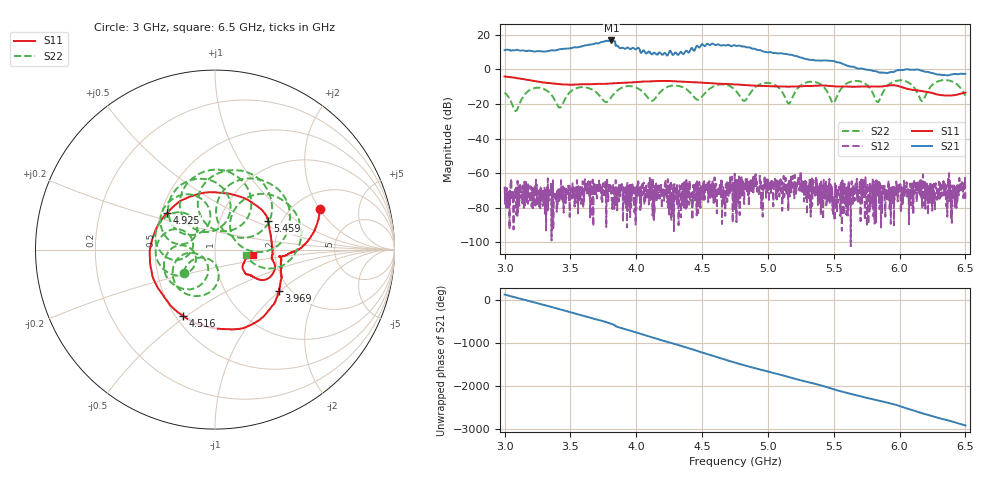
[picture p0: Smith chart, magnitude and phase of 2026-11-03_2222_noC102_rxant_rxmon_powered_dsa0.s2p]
! HEWLETT PACKARD,8720ES,MY41003347,7.72, via bringup/vna_tests.py
! noC102_rxant_rxmon_powered_dsa0
! measured 2026-11-03 22:23:18, 1601 points, 3000000000-6500000000 Hz, IF bandwidth 1000 Hz, source -40.00 dBm, kit CALK35MD
! board A, DSA 0.00 dB (set before each sweep)
! board A, CTRL bits {'tx_dis': 1} set before each sweep
# HZ S RI R 50
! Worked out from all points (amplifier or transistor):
!   1601 points, 3 GHz to 6.5 GHz, reference 50 ohm
!   highest |S21| = 16.8 dB at 3.812 GHz (marker M1)
!   |S21| within 3 dB of that: 3.604 GHz to 3.842 GHz (238.1 MHz wide, 6.39 % of centre)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
!   unconditionally stable (mu >= 1): start of sweep to end of sweep
!   at 3.582 GHz: K = 532.02, MAG = 14.4 dB, |S12| = -76.0 dB
!   at 4.75 GHz: K = 1024.58, MAG = 14.9 dB, |S12| = -82.0 dB
!   at 6.5 GHz: K = 3424.94, MAG = -2.2 dB, |S12| = -74.8 dB
!   S11 on the Smith chart (normalised r, x): 3 GHz: 2.72, +2.02; 3.969 GHz: 1.76, -0.98; 4.516 GHz: 0.55, -0.49; 4.925 GHz: 0.54, +0.25; 5.459 GHz: 1.70, +0.61; 6.5 GHz: 1.54, -0.09
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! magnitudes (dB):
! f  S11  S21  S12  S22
! 3 GHz  -4.1  11.2  -67.7  -13.3
! 3.085 GHz  -4.9  11.2  -71.3  -24.1
! 3.278 GHz  -7.4  10.4  -68.2  -10.8
! 3.42 GHz  -8.5  11.7  -73.3  -22.0
! 3.584 GHz  -8.6  13.3  -70.4  -10.2
! 3.812 GHz  -8.1  16.8  -70.5  -15.9
! 3.969 GHz  -7.5  12.4  -72.5  -9.8
! 4.168 GHz  -6.7  9.4  -67.0  -14.3
! 4.516 GHz  -7.8  13.6  -64.6  -14.3
! 4.75 GHz  -8.7  13.9  -82.0  -11.8
! 4.822 GHz  -9.0  13.2  -68.1  -18.2
! 4.925 GHz  -9.5  11.2  -68.8  -9.1
! 5.159 GHz  -10.0  8.6  -66.8  -19.7
! 5.334 GHz  -9.5  5.5  -63.0  -7.0
! 5.459 GHz  -9.5  5.1  -70.1  -14.1
! 5.684 GHz  -9.9  0.5  -69.7  -6.7
! 5.835 GHz  -9.9  -1.5  -72.4  -18.9
! 5.918 GHz  -9.3  -1.8  -71.4  -8.7
! 6.056 GHz  -11.2  0.1  -70.3  -7.1
! 6.172 GHz  -12.5  -0.8  -80.3  -18.3
! 6.362 GHz  -15.0  -3.5  -85.1  -6.2
! 6.5 GHz  -13.3  -2.6  -74.8  -15.2
